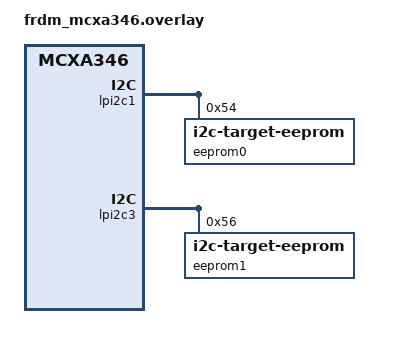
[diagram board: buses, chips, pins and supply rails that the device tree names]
/*
 * Copyright 2024 NXP
 *
 * SPDX-License-Identifier: Apache-2.0
 */

/* To test this sample, connect
 * LPI2C1 SCL(J4-12)  -->  LPI2C3 SCL(J5-5)
 * LPI2C1 SDA(J4-10)  -->  LPI2C3 SDA(J5-6)
 */

&lpi2c1 {
	eeprom0: eeprom@54 {
		compatible = "zephyr,i2c-target-eeprom";
		reg = <0x54>;
		size = <256>;
	};
};

&lpi2c3 {
	eeprom1: eeprom@56 {
		compatible = "zephyr,i2c-target-eeprom";
		reg = <0x56>;
		size = <256>;
	};
};
